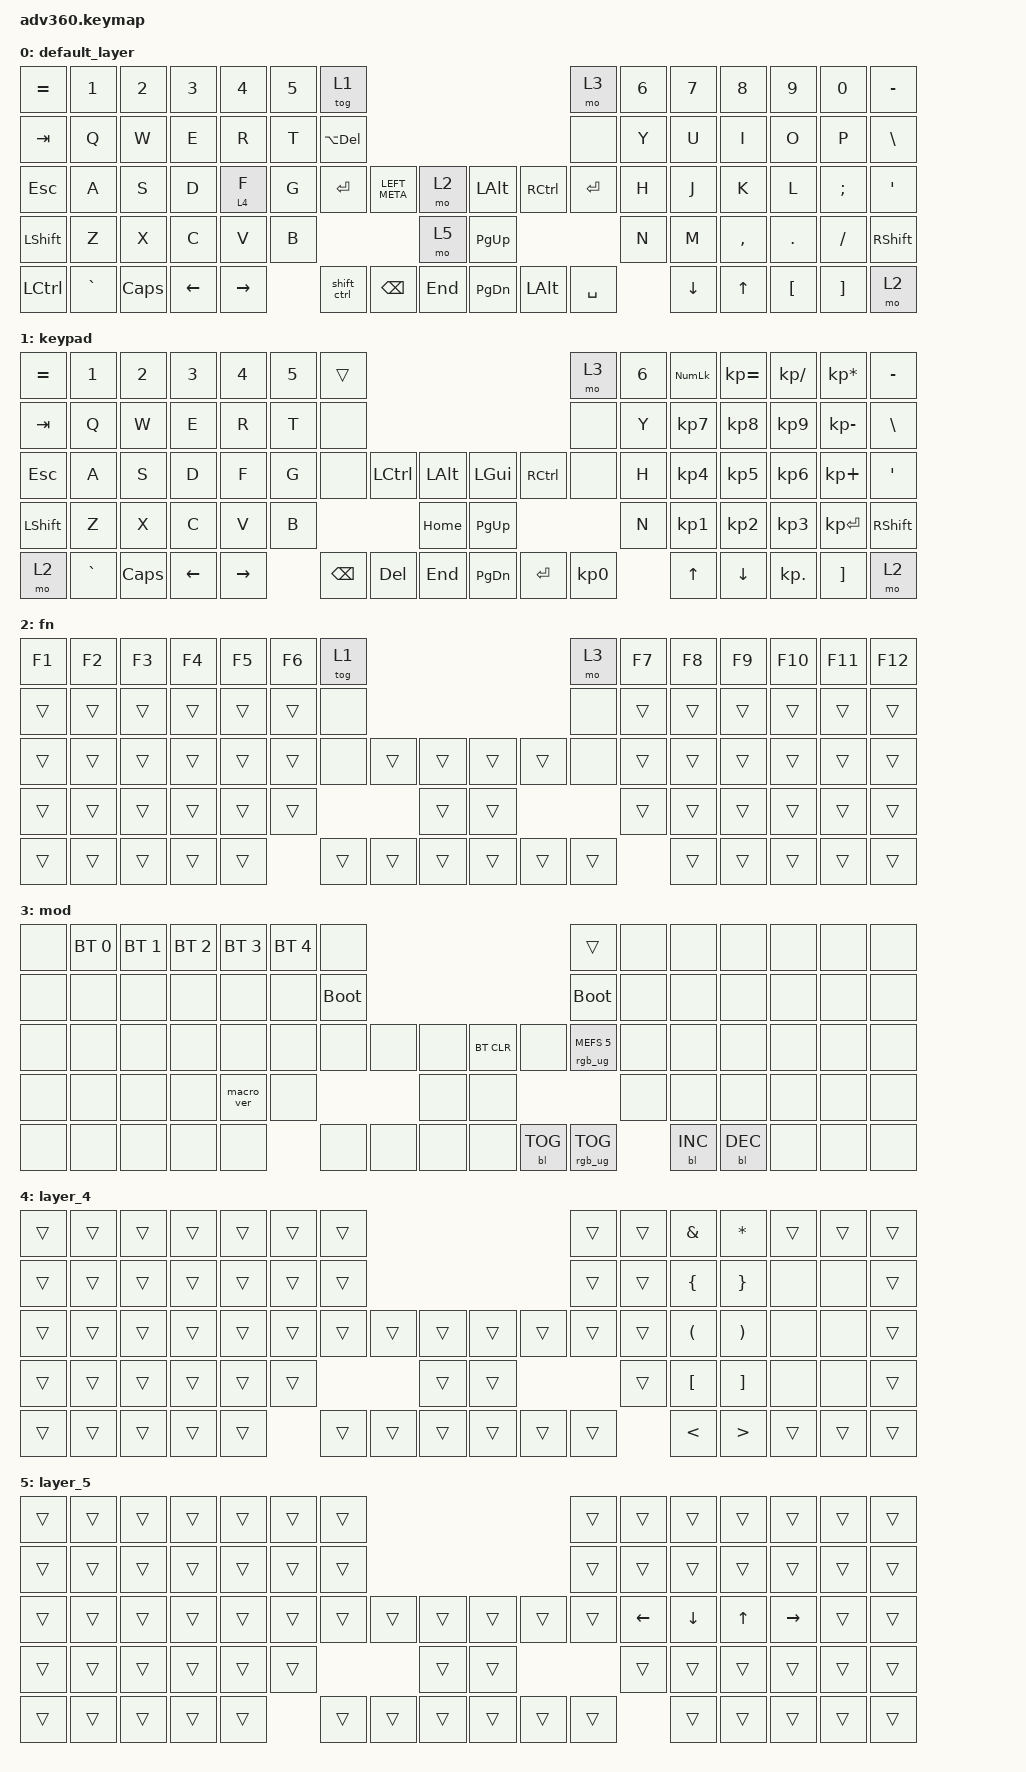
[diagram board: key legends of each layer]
#include <behaviors.dtsi>
#include <dt-bindings/zmk/backlight.h>
#include <dt-bindings/zmk/bt.h>
#include <dt-bindings/zmk/keys.h>
#include <dt-bindings/zmk/pointing.h>
#include <dt-bindings/zmk/rgb.h>
#include <dt-bindings/zmk/stp.h>

/ {
    behaviors {
        #include "macros.dtsi"
      #include "version.dtsi"
      #ifndef VERSION_MACRO

        macro_ver: macro_ver {
            compatible = "zmk,behavior-macro";
            label = "macro_version";
            #binding-cells = <0>;
            bindings = <&kp RET>;
        };

        #endif

        hm: homerow_mods {
            compatible = "zmk,behavior-hold-tap";
            label = "HOMEROW_MODS";
            #binding-cells = <2>;
            tapping-term-ms = <200>;
            quick_tap_ms = <175>;
            flavor = "tap-preferred";
            bindings = <&kp>, <&kp>;
        };

        shift_ctrl: shift_ctrl {
            compatible = "zmk,behavior-tap-dance";
            label = "SHIFT_CTRL";
            #binding-cells = <0>;
            bindings = <&kp LEFT_SHIFT>, <&kp LCTRL>, <&mo 5>;
        };
    };

    macros {
    };

    keymap {
        compatible = "zmk,keymap";

        default_layer {
            bindings = <
&kp EQUAL  &kp N1     &kp N2    &kp N3    &kp N4     &kp N5  &tog 1                                                               &mo 3      &kp N6  &kp N7    &kp N8        &kp N9    &kp N0    &kp MINUS
&kp TAB    &kp Q      &kp W     &kp E     &kp R      &kp T   &kp LA(DEL)                                                          &none      &kp Y   &kp U     &kp I         &kp O     &kp P     &kp BSLH
&kp ESC    &kp A      &kp S     &kp D     &lt 4 F    &kp G   &kp ENTER    &kp LEFT_META  &mo 2        &kp LEFT_ALT  &kp RCTRL     &kp ENTER  &kp H   &kp J     &kp K         &kp L     &kp SEMI  &kp SQT
&kp LSHFT  &kp Z      &kp X     &kp C     &kp V      &kp B                               &mo 5        &kp PG_UP                              &kp N   &kp M     &kp COMMA     &kp DOT   &kp FSLH  &kp RSHFT
&kp LCTRL  &kp GRAVE  &kp CAPS  &kp LEFT  &kp RIGHT          &shift_ctrl  &kp BACKSPACE  &kp END      &kp PG_DN     &kp LEFT_ALT  &kp SPACE          &kp DOWN  &kp UP_ARROW  &kp LBKT  &kp RBKT  &mo 2
            >;
        };

        keypad {
            bindings = <
&kp EQUAL  &kp N1     &kp N2    &kp N3    &kp N4     &kp N5  &trans                                                   &mo 3      &kp N6  &kp KP_NUM  &kp KP_EQUAL  &kp KP_DIVIDE  &kp KP_MULTIPLY  &kp MINUS
&kp TAB    &kp Q      &kp W     &kp E     &kp R      &kp T   &none                                                    &none      &kp Y   &kp KP_N7   &kp KP_N8     &kp KP_N9      &kp KP_MINUS     &kp BSLH
&kp ESC    &kp A      &kp S     &kp D     &kp F      &kp G   &none     &kp LCTRL  &kp LALT      &kp LGUI   &kp RCTRL  &none      &kp H   &kp KP_N4   &kp KP_N5     &kp KP_N6      &kp KP_PLUS      &kp SQT
&kp LSHFT  &kp Z      &kp X     &kp C     &kp V      &kp B                        &kp HOME      &kp PG_UP                        &kp N   &kp KP_N1   &kp KP_N2     &kp KP_N3      &kp KP_ENTER     &kp RSHFT
&mo 2      &kp GRAVE  &kp CAPS  &kp LEFT  &kp RIGHT          &kp BSPC  &kp DEL    &kp END       &kp PG_DN  &kp ENTER  &kp KP_N0          &kp UP      &kp DOWN      &kp KP_DOT     &kp RBKT         &mo 2
            >;
        };

        fn {
            bindings = <
&kp F1  &kp F2  &kp F3  &kp F4  &kp F5  &kp F6  &tog 1                                      &mo 3   &kp F7  &kp F8  &kp F9  &kp F10  &kp F11  &kp F12
&trans  &trans  &trans  &trans  &trans  &trans  &none                                       &none   &trans  &trans  &trans  &trans   &trans   &trans
&trans  &trans  &trans  &trans  &trans  &trans  &none   &trans  &trans      &trans  &trans  &none   &trans  &trans  &trans  &trans   &trans   &trans
&trans  &trans  &trans  &trans  &trans  &trans                  &trans      &trans                  &trans  &trans  &trans  &trans   &trans   &trans
&trans  &trans  &trans  &trans  &trans          &trans  &trans  &trans      &trans  &trans  &trans          &trans  &trans  &trans   &trans   &trans
            >;
        };

        mod {
            bindings = <
&none  &bt BT_SEL 0  &bt BT_SEL 1  &bt BT_SEL 2  &bt BT_SEL 3  &bt BT_SEL 4  &none                                                  &trans                  &none  &none       &none       &none  &none  &none
&none  &none         &none         &none         &none         &none         &bootloader                                            &bootloader             &none  &none       &none       &none  &none  &none
&none  &none         &none         &none         &none         &none         &none        &none  &none      &bt BT_CLR  &none       &rgb_ug RGB_MEFS_CMD 5  &none  &none       &none       &none  &none  &none
&none  &none         &none         &none         &macro_ver    &none                             &none      &none                                           &none  &none       &none       &none  &none  &none
&none  &none         &none         &none         &none                       &none        &none  &none      &none       &bl BL_TOG  &rgb_ug RGB_TOG                &bl BL_INC  &bl BL_DEC  &none  &none  &none
            >;
        };

        layer_4 {
            bindings = <
&trans  &trans  &trans  &trans  &trans  &trans  &trans                                      &trans  &trans  &kp AMPERSAND         &kp ASTRK              &trans  &trans  &trans
&trans  &trans  &trans  &trans  &trans  &trans  &trans                                      &trans  &trans  &kp LEFT_BRACE        &kp RIGHT_BRACE        &none   &none   &trans
&trans  &trans  &trans  &trans  &trans  &trans  &trans  &trans  &trans      &trans  &trans  &trans  &trans  &kp LEFT_PARENTHESIS  &kp RIGHT_PARENTHESIS  &none   &none   &trans
&trans  &trans  &trans  &trans  &trans  &trans                  &trans      &trans                  &trans  &kp LEFT_BRACKET      &kp RIGHT_BRACKET      &none   &none   &trans
&trans  &trans  &trans  &trans  &trans          &trans  &trans  &trans      &trans  &trans  &trans          &kp LESS_THAN         &kp GREATER_THAN       &trans  &trans  &trans
            >;
        };

        layer_5 {
            bindings = <
&trans  &trans  &trans  &trans  &trans  &trans  &trans                                      &trans  &trans    &trans    &trans        &trans     &trans  &trans
&trans  &trans  &trans  &trans  &trans  &trans  &trans                                      &trans  &trans    &trans    &trans        &trans     &trans  &trans
&trans  &trans  &trans  &trans  &trans  &trans  &trans  &trans  &trans      &trans  &trans  &trans  &kp LEFT  &kp DOWN  &kp UP_ARROW  &kp RIGHT  &trans  &trans
&trans  &trans  &trans  &trans  &trans  &trans                  &trans      &trans                  &trans    &trans    &trans        &trans     &trans  &trans
&trans  &trans  &trans  &trans  &trans          &trans  &trans  &trans      &trans  &trans  &trans            &trans    &trans        &trans     &trans  &trans
            >;
        };
    };
};
